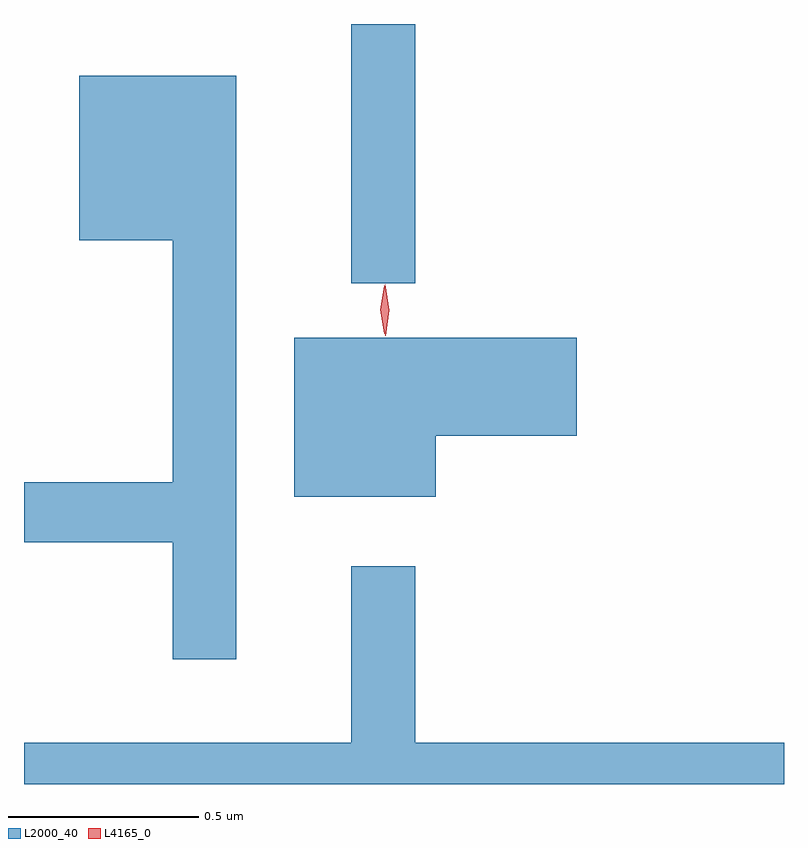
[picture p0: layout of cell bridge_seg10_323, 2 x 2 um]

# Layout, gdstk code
import gdstk
lib = gdstk.Library(unit=1e-6, precision=1e-09)
def R(c, l, rs):  # rectangles x0, y0, x1, y1
    for r in rs: c.add(gdstk.rectangle(r[:2], r[2:], *l))
def P(c, l, *ps):  # polygons
    for p in ps: c.add(gdstk.Polygon(p, *l))
L2000_40 = (2000, 40)
L4165_0 = (4165, 0)

bridge_seg10_323 = lib.new_cell('bridge_seg10_323')
R(bridge_seg10_323, L2000_40, [(1406.301,2197.533,1406.469,2198.215)])
P(bridge_seg10_323, L2000_40, [(1405.999,2198.079),(1405.586,2198.079),(1405.586,2197.646),(1405.831,2197.646),(1405.831,2197.009),(1405.44,2197.009),(1405.44,2196.851),(1405.831,2196.851),(1405.831,2196.543),(1405.999,2196.543)],
  [(1406.524,2197.131),(1406.894,2197.131),(1406.894,2197.389),(1406.151,2197.389),(1406.151,2196.971),(1406.524,2196.971)],
  [(1407.44,2196.324),(1406.469,2196.324),(1406.469,2196.788),(1406.301,2196.788),(1406.301,2196.324),(1405.44,2196.324),(1405.44,2196.215),(1407.44,2196.215)])
P(bridge_seg10_323, L4165_0, [(1406.391,2197.394),(1406.391,2197.394),(1406.381,2197.462),(1406.39,2197.53),(1406.391,2197.53),(1406.391,2197.53),(1406.401,2197.462),(1406.392,2197.394)],
  [(1406.388,2197.4),(1406.388,2197.4),(1406.378,2197.463),(1406.388,2197.526),(1406.388,2197.527),(1406.388,2197.526),(1406.398,2197.463),(1406.388,2197.4)])

lib.write_gds('bridge_seg10_323.gds')
